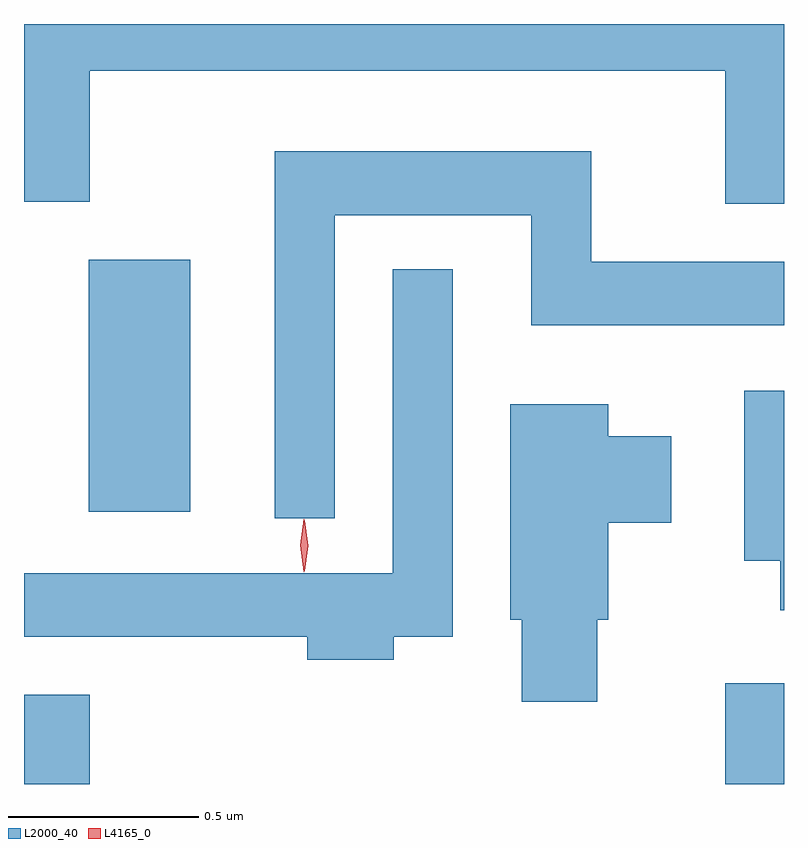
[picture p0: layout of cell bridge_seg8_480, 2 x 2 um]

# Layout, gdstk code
import gdstk
lib = gdstk.Library(unit=1e-6, precision=1e-09)
def R(c, l, rs):  # rectangles x0, y0, x1, y1
    for r in rs: c.add(gdstk.rectangle(r[:2], r[2:], *l))
def P(c, l, *ps):  # polygons
    for p in ps: c.add(gdstk.Polygon(p, *l))
L2000_40 = (2000, 40)
L4165_0 = (4165, 0)

bridge_seg8_480 = lib.new_cell('bridge_seg8_480')
R(bridge_seg8_480, L2000_40, [(522.196,1929.999,522.369,1930.234), (524.041,1929.999,524.196,1930.264), (522.366,1930.716,522.634,1931.379)])
P(bridge_seg8_480, L2000_40, [(524.196,1931.999),(522.196,1931.999),(522.196,1931.531),(522.369,1931.531),(522.369,1931.876),(524.041,1931.876),(524.041,1931.526),(524.196,1931.526)],
  [(523.014,1931.496),(523.531,1931.496),(523.531,1931.206),(524.196,1931.206),(524.196,1931.374),(523.689,1931.374),(523.689,1931.664),(522.856,1931.664),(522.856,1930.698),(523.014,1930.698)],
  [(523.169,1930.386),(523.324,1930.386),(523.324,1931.353),(523.166,1931.353),(523.166,1930.554),(522.196,1930.554),(522.196,1930.386),(522.941,1930.386),(522.941,1930.326),(523.169,1930.326)],
  [(524.196,1931.034),(524.091,1931.034),(524.091,1930.586),(524.186,1930.586),(524.186,1930.456),(524.196,1930.456)],
  [(523.704,1930.431),(523.734,1930.431),(523.734,1930.686),(523.899,1930.686),(523.899,1930.914),(523.734,1930.914),(523.734,1930.999),(523.476,1930.999),(523.476,1930.431),(523.506,1930.431),(523.506,1930.216),(523.704,1930.216)])
P(bridge_seg8_480, L4165_0, [(522.933,1930.557),(522.932,1930.558),(522.923,1930.627),(522.932,1930.696),(522.933,1930.696),(522.933,1930.696),(522.943,1930.627),(522.933,1930.558)],
  [(522.934,1930.559),(522.934,1930.56),(522.924,1930.626),(522.934,1930.692),(522.934,1930.693),(522.935,1930.692),(522.944,1930.626),(522.935,1930.56)])

lib.write_gds('bridge_seg8_480.gds')
